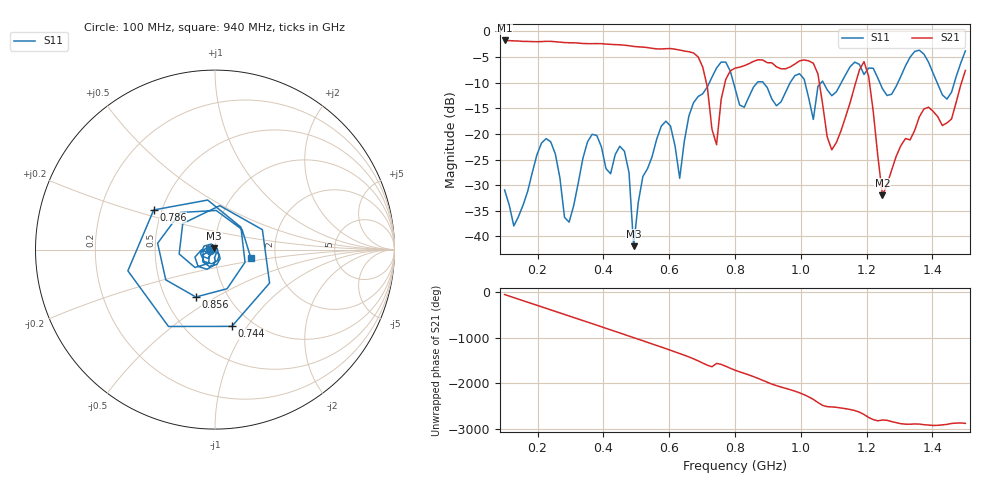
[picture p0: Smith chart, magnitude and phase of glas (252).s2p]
! NanoVNA-App
! Date: 2025-09-25 15:57:26
! Start: 100MHz Stop: 1,5GHz Points: 101
! S-Parameter data: F S11 S21 S12 S22
# Hz S RI R 50
!  Frequency  S11_Real  S11_Imag  S21_Real  S21_Imag  S12_Real  S12_Imag  S22_Real  S22_Imag
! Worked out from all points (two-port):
!   101 points, 100 MHz to 1.5 GHz, reference 50 ohm
!   highest |S21| = -1.80 dB at 100 MHz (marker M1); lowest = -32.0 dB at 1.248 GHz (marker M2)
!   |S21| within 3 dB of the highest: start of sweep to 684.3 MHz
!   lowest |S11| = -41.9 dB at 492 MHz (marker M3), VSWR 1.02, Z = 49.5 + j0.607 ohm
!   |S11| at or under -10 dB: start of sweep to 722.3 MHz; 795.4 MHz to 868 MHz (72.61 MHz wide, 8.73 % of centre); 885.8 MHz to 967.8 MHz (81.94 MHz wide, 8.84 % of centre) (the widest 3 of 7)
!   S12 and S22 are empty: the file has one direction only
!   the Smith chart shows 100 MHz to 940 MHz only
!   S11 on the Smith chart (normalised r, x): 100 MHz: 0.95, -0.01; 744 MHz: 0.81, -0.85; 786 MHz: 0.45, +0.24; 856 MHz: 0.71, -0.41; 940 MHz: 1.49, -0.14
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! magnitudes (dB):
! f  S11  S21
! 100 MHz  -30.9  -1.8
! 128 MHz  -38.0  -1.9
! 226 MHz  -20.9  -2.0
! 296 MHz  -37.2  -2.2
! 338 MHz  -24.7  -2.4
! 464 MHz  -23.4  -2.7
! 492 MHz  -41.9  -3.0
! 576 MHz  -18.5  -3.5
! 632 MHz  -28.7  -3.7
! 702 MHz  -12.2  -7.0
! 744 MHz  -7.2  -22.1
! 786 MHz  -7.8  -7.7
! 800 MHz  -11.1  -7.2
! 856 MHz  -10.9  -5.9
! 940 MHz  -13.8  -7.3
! 996 MHz  -8.3  -5.8
! 1.038 GHz  -17.2  -6.2
! 1.094 GHz  -12.6  -23.1
! 1.192 GHz  -8.4  -5.9
! 1.248 GHz  -11.2  -32.0
! 1.276 GHz  -12.3  -27.0
! 1.5 GHz  -3.8  -7.6
